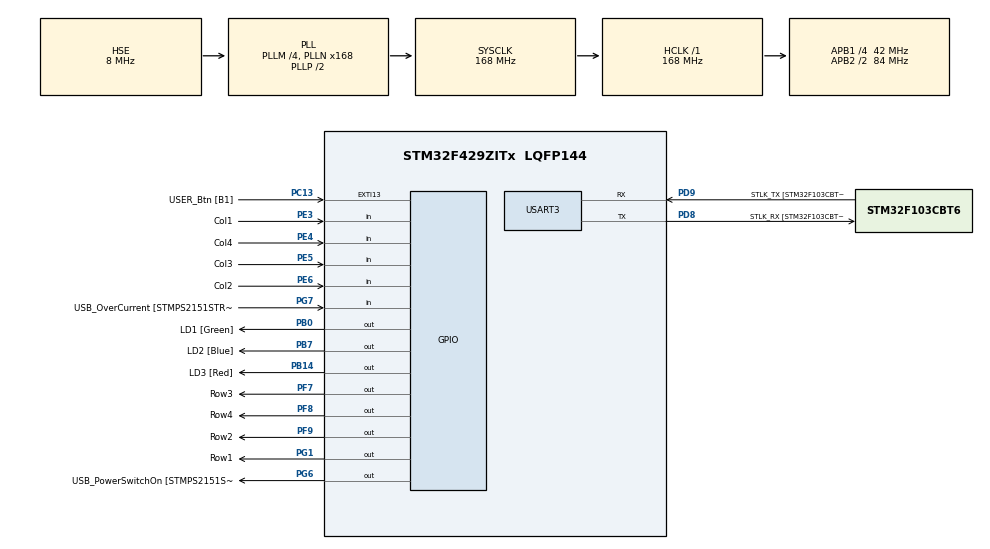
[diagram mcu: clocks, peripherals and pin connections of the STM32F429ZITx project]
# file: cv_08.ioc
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Mcu.Family=STM32F4
Mcu.Name=STM32F429ZITx
Mcu.Package=LQFP144
NVIC.PriorityGroup=NVIC_PRIORITYGROUP_4
NVIC.TIM3_IRQn=true\:0\:0\:false\:false\:true\:true\:true
PA1.GPIO_Label=RMII_REF_CLK [LAN8742A-CZ-TR_REFCLK0]
PA1.Signal=ETH_REF_CLK
PA10.GPIO_Label=USB_ID
PA10.Signal=USB_OTG_FS_ID
PA11.GPIO_Label=USB_DM
PA11.Signal=USB_OTG_FS_DM
PA12.GPIO_Label=USB_DP
PA12.Signal=USB_OTG_FS_DP
PA13.GPIO_Label=TMS
PA13.Mode=Serial_Wire
PA13.Signal=SYS_JTMS-SWDIO
PA14.GPIO_Label=TCK
PA14.Mode=Serial_Wire
PA14.Signal=SYS_JTCK-SWCLK
PA2.GPIO_Label=RMII_MDIO [LAN8742A-CZ-TR_MDIO]
PA2.Signal=ETH_MDIO
PA7.GPIO_Label=RMII_CRS_DV [LAN8742A-CZ-TR_CRS_DV]
PA7.Signal=ETH_CRS_DV
PA8.GPIO_Label=USB_SOF [TP1]
PA8.Signal=USB_OTG_FS_SOF
PA9.GPIO_Label=USB_VBUS
PA9.Signal=USB_OTG_FS_VBUS
PB0.GPIO_Label=LD1 [Green]
PB0.Signal=GPIO_Output
PB13.GPIO_Label=RMII_TXD1 [LAN8742A-CZ-TR_TXD1]
PB13.Signal=ETH_TXD1
PB14.GPIO_Label=LD3 [Red]
PB14.Signal=GPIO_Output
PB7.GPIO_Label=LD2 [Blue]
PB7.Signal=GPIO_Output
PC1.GPIO_Label=RMII_MDC [LAN8742A-CZ-TR_MDC]
PC1.Signal=ETH_MDC
PC13.GPIO_Label=USER_Btn [B1]
PC13.Signal=GPXTI13
PC14/OSC32_IN.Mode=LSE-External-Oscillator
PC14/OSC32_IN.Signal=RCC_OSC32_IN
PC15/OSC32_OUT.Mode=LSE-External-Oscillator
PC15/OSC32_OUT.Signal=RCC_OSC32_OUT
PC4.GPIO_Label=RMII_RXD0 [LAN8742A-CZ-TR_RXD0]
PC4.Signal=ETH_RXD0
PC5.GPIO_Label=RMII_RXD1 [LAN8742A-CZ-TR_RXD1]
PC5.Signal=ETH_RXD1
PD8.GPIO_Label=STLK_RX [STM32F103CBT6_PA3]
PD8.Mode=Asynchronous
PD8.Signal=USART3_TX
PD9.GPIO_Label=STLK_TX [STM32F103CBT6_PA2]
PD9.Mode=Asynchronous
PD9.Signal=USART3_RX
PE3.GPIO_Label=Col1
PE3.GPIO_PuPd=GPIO_PULLUP
PE3.Signal=GPIO_Input
PE4.GPIO_Label=Col4
PE4.GPIO_PuPd=GPIO_PULLUP
PE4.Signal=GPIO_Input
PE5.GPIO_Label=Col3
PE5.GPIO_PuPd=GPIO_PULLUP
PE5.Signal=GPIO_Input
PE6.GPIO_Label=Col2
PE6.GPIO_PuPd=GPIO_PULLUP
PE6.Signal=GPIO_Input
PF7.GPIO_Label=Row3
PF7.GPIO_ModeDefaultOutputPP=GPIO_MODE_OUTPUT_OD
PF7.Signal=GPIO_Output
PF8.GPIO_Label=Row4
PF8.GPIO_ModeDefaultOutputPP=GPIO_MODE_OUTPUT_OD
PF8.Signal=GPIO_Output
PF9.GPIO_Label=Row2
PF9.GPIO_ModeDefaultOutputPP=GPIO_MODE_OUTPUT_OD
PF9.Signal=GPIO_Output
PG1.GPIO_Label=Row1
PG1.GPIO_ModeDefaultOutputPP=GPIO_MODE_OUTPUT_OD
PG1.Signal=GPIO_Output
PG11.GPIO_Label=RMII_TX_EN [LAN8742A-CZ-TR_TXEN]
PG11.Signal=ETH_TX_EN
PG13.GPIO_Label=RMII_TXD0 [LAN8742A-CZ-TR_TXD0]
PG13.Signal=ETH_TXD0
PG6.GPIO_Label=USB_PowerSwitchOn [STMPS2151STR_EN]
PG6.Signal=GPIO_Output
PG7.GPIO_Label=USB_OverCurrent [STMPS2151STR_FAULT]
PG7.Signal=GPIO_Input
PH0/OSC_IN.GPIO_Label=MCO [STM32F103CBT6_PA8]
PH0/OSC_IN.Mode=HSE-External-Clock-Source
PH0/OSC_IN.Signal=RCC_OSC_IN
PH1/OSC_OUT.Mode=HSE-External-Clock-Source
PH1/OSC_OUT.Signal=RCC_OSC_OUT
ProjectManager.HeapSize=0x200
ProjectManager.StackSize=0x400
ProjectManager.TargetToolchain=STM32CubeIDE
RCC.48MHZClocksFreq_Value=48000000
RCC.AHBFreq_Value=168000000
RCC.APB1CLKDivider=RCC_HCLK_DIV4
RCC.APB1Freq_Value=42000000
RCC.APB1TimFreq_Value=84000000
RCC.APB2CLKDivider=RCC_HCLK_DIV2
RCC.APB2Freq_Value=84000000
RCC.APB2TimCLKDivider=2
RCC.APB2TimFreq_Value=168000000
RCC.CortexFreq_Value=168000000
RCC.HCLKFreq_Value=168000000
RCC.HSE_VALUE=8000000
RCC.HSI_VALUE=16000000
RCC.PLLM=4
RCC.PLLMUL=RCC_PLL_MUL9
RCC.PLLN=168
RCC.PLLQ=7
RCC.PLLSourceVirtual=RCC_PLLSOURCE_HSE
RCC.PRESCALERUSB=RCC_USBCLKSOURCE_PLL_DIV1_5
RCC.SYSCLKFreq_VALUE=168000000
RCC.SYSCLKSource=RCC_SYSCLKSOURCE_PLLCLK
RCC.SYSCLKSourceVirtual=RCC_SYSCLKSOURCE_PLLCLK
RCC.USBFreq_Value=48000000
RCC.VCOOutputFreq_Value=336000000
TIM3.Period=99
TIM3.Prescaler=8399
USART3.VirtualMode=VM_ASYNC
VP_TIM3_VS_ClockSourceINT.Mode=Internal
board=NUCLEO-F429ZI

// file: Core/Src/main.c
/* USER CODE BEGIN Header */
/**
  ******************************************************************************
  * @file           : main.c
  * @brief          : Main program body
  ******************************************************************************
  * @attention
  *
  * <h2><center>&copy; Copyright (c) 2021 STMicroelectronics.
  * All rights reserved.</center></h2>
  *
  * This software component is licensed by ST under BSD 3-Clause license,
  * the "License"; You may not use this file except in compliance with the
  * License. You may obtain a copy of the License at:
  *                        opensource.org/licenses/BSD-3-Clause
  *
  ******************************************************************************
  */
/* USER CODE END Header */
#include "main.h"

/* USER CODE BEGIN Includes */
#include <stdio.h>
#include <string.h>
#include <stdlib.h>
/* USER CODE END Includes */

TIM_HandleTypeDef htim3;

UART_HandleTypeDef huart3;

/* USER CODE BEGIN PV */
static volatile int8_t key = -1;
const uint8_t heslo[] = { 7, 9, 3, 2, 12 };
/* USER CODE END PV */

void SystemClock_Config(void);
static void MX_GPIO_Init(void);
static void MX_USART3_UART_Init(void);
static void MX_TIM3_Init(void);
/* USER CODE BEGIN PFP */
int __io_putchar(int ch);
/* USER CODE END PFP */

int main(void)
{

  /* MCU Configuration--------------------------------------------------------*/

  /* Reset of all peripherals, Initializes the Flash interface and the Systick. */
  HAL_Init();

  /* Configure the system clock */
  SystemClock_Config();

  /* Initialize all configured peripherals */
  MX_GPIO_Init();
  MX_USART3_UART_Init();
  MX_TIM3_Init();
  /* USER CODE BEGIN 2 */
  HAL_TIM_Base_Start_IT(&htim3);
  printf("Start \n");
  /* USER CODE END 2 */

  /* Infinite loop */
  /* USER CODE BEGIN WHILE */
  while (1)
  {
	static uint8_t znak=0;
	static uint32_t tick=0;
	//HAL_GPIO_TogglePin(LD1_GPIO_Port, LD1_Pin);
	//HAL_Delay(500);

	if(key != -1)
	{
		printf("Button: %d \n", key);
		HAL_Delay(500);
		if(key == heslo[znak]) {
			znak++;
			tick = HAL_GetTick();
			//printf("znak= %d \n", znak);
		}
		else znak = 0;

		if(znak > 4 ){
			HAL_GPIO_TogglePin(LD1_GPIO_Port, LD1_Pin);
			znak = 0;
		}
		key=-1;
	}

	if((HAL_GetTick() >= tick + 10000) && znak != 0){
		tick = HAL_GetTick();
		znak = 0;
		printf("Cas vyprsel\n");
	}
    /* USER CODE END WHILE */

  }
}

void SystemClock_Config(void)
{
  RCC_OscInitTypeDef RCC_OscInitStruct = {0};
  RCC_ClkInitTypeDef RCC_ClkInitStruct = {0};

  /** Configure the main internal regulator output voltage
  */
  __HAL_RCC_PWR_CLK_ENABLE();
  __HAL_PWR_VOLTAGESCALING_CONFIG(PWR_REGULATOR_VOLTAGE_SCALE1);
  /** Initializes the RCC Oscillators according to the specified parameters
  * in the RCC_OscInitTypeDef structure.
  */
  RCC_OscInitStruct.OscillatorType = RCC_OSCILLATORTYPE_HSE;
  RCC_OscInitStruct.HSEState = RCC_HSE_BYPASS;
  RCC_OscInitStruct.PLL.PLLState = RCC_PLL_ON;
  RCC_OscInitStruct.PLL.PLLSource = RCC_PLLSOURCE_HSE;
  RCC_OscInitStruct.PLL.PLLM = 4;
  RCC_OscInitStruct.PLL.PLLN = 168;
  RCC_OscInitStruct.PLL.PLLP = RCC_PLLP_DIV2;
  RCC_OscInitStruct.PLL.PLLQ = 7;
  if (HAL_RCC_OscConfig(&RCC_OscInitStruct) != HAL_OK)
  {
    Error_Handler();
  }
  /** Initializes the CPU, AHB and APB buses clocks
  */
  RCC_ClkInitStruct.ClockType = RCC_CLOCKTYPE_HCLK|RCC_CLOCKTYPE_SYSCLK
                              |RCC_CLOCKTYPE_PCLK1|RCC_CLOCKTYPE_PCLK2;
  RCC_ClkInitStruct.SYSCLKSource = RCC_SYSCLKSOURCE_PLLCLK;
  RCC_ClkInitStruct.AHBCLKDivider = RCC_SYSCLK_DIV1;
  RCC_ClkInitStruct.APB1CLKDivider = RCC_HCLK_DIV4;
  RCC_ClkInitStruct.APB2CLKDivider = RCC_HCLK_DIV2;

  if (HAL_RCC_ClockConfig(&RCC_ClkInitStruct, FLASH_LATENCY_5) != HAL_OK)
  {
    Error_Handler();
  }
}

static void MX_TIM3_Init(void)
{

  TIM_ClockConfigTypeDef sClockSourceConfig = {0};
  TIM_MasterConfigTypeDef sMasterConfig = {0};

  htim3.Instance = TIM3;
  htim3.Init.Prescaler = 8399;
  htim3.Init.CounterMode = TIM_COUNTERMODE_UP;
  htim3.Init.Period = 99;
  htim3.Init.ClockDivision = TIM_CLOCKDIVISION_DIV1;
  htim3.Init.AutoReloadPreload = TIM_AUTORELOAD_PRELOAD_DISABLE;
  if (HAL_TIM_Base_Init(&htim3) != HAL_OK)
  {
    Error_Handler();
  }
  sClockSourceConfig.ClockSource = TIM_CLOCKSOURCE_INTERNAL;
  if (HAL_TIM_ConfigClockSource(&htim3, &sClockSourceConfig) != HAL_OK)
  {
    Error_Handler();
  }
  sMasterConfig.MasterOutputTrigger = TIM_TRGO_RESET;
  sMasterConfig.MasterSlaveMode = TIM_MASTERSLAVEMODE_DISABLE;
  if (HAL_TIMEx_MasterConfigSynchronization(&htim3, &sMasterConfig) != HAL_OK)
  {
    Error_Handler();
  }

}

static void MX_USART3_UART_Init(void)
{

  huart3.Instance = USART3;
  huart3.Init.BaudRate = 115200;
  huart3.Init.WordLength = UART_WORDLENGTH_8B;
  huart3.Init.StopBits = UART_STOPBITS_1;
  huart3.Init.Parity = UART_PARITY_NONE;
  huart3.Init.Mode = UART_MODE_TX_RX;
  huart3.Init.HwFlowCtl = UART_HWCONTROL_NONE;
  huart3.Init.OverSampling = UART_OVERSAMPLING_16;
  if (HAL_UART_Init(&huart3) != HAL_OK)
  {
    Error_Handler();
  }

}

static void MX_GPIO_Init(void)
{
  GPIO_InitTypeDef GPIO_InitStruct = {0};

  /* GPIO Ports Clock Enable */
  __HAL_RCC_GPIOE_CLK_ENABLE();
  __HAL_RCC_GPIOC_CLK_ENABLE();
  __HAL_RCC_GPIOF_CLK_ENABLE();
  __HAL_RCC_GPIOH_CLK_ENABLE();
  __HAL_RCC_GPIOA_CLK_ENABLE();
  __HAL_RCC_GPIOB_CLK_ENABLE();
  __HAL_RCC_GPIOG_CLK_ENABLE();
  __HAL_RCC_GPIOD_CLK_ENABLE();

  /*Configure GPIO pin Output Level */
  HAL_GPIO_WritePin(GPIOF, Row3_Pin|Row4_Pin|Row2_Pin, GPIO_PIN_RESET);

  /*Configure GPIO pin Output Level */
  HAL_GPIO_WritePin(GPIOB, LD1_Pin|LD3_Pin|LD2_Pin, GPIO_PIN_RESET);

  /*Configure GPIO pin Output Level */
  HAL_GPIO_WritePin(GPIOG, Row1_Pin|USB_PowerSwitchOn_Pin, GPIO_PIN_RESET);

  /*Configure GPIO pins : Col1_Pin Col4_Pin Col3_Pin Col2_Pin */
  GPIO_InitStruct.Pin = Col1_Pin|Col4_Pin|Col3_Pin|Col2_Pin;
  GPIO_InitStruct.Mode = GPIO_MODE_INPUT;
  GPIO_InitStruct.Pull = GPIO_PULLUP;
  HAL_GPIO_Init(GPIOE, &GPIO_InitStruct);

  /*Configure GPIO pin : USER_Btn_Pin */
  GPIO_InitStruct.Pin = USER_Btn_Pin;
  GPIO_InitStruct.Mode = GPIO_MODE_IT_RISING;
  GPIO_InitStruct.Pull = GPIO_NOPULL;
  HAL_GPIO_Init(USER_Btn_GPIO_Port, &GPIO_InitStruct);

  /*Configure GPIO pins : Row3_Pin Row4_Pin Row2_Pin */
  GPIO_InitStruct.Pin = Row3_Pin|Row4_Pin|Row2_Pin;
  GPIO_InitStruct.Mode = GPIO_MODE_OUTPUT_OD;
  GPIO_InitStruct.Pull = GPIO_NOPULL;
  GPIO_InitStruct.Speed = GPIO_SPEED_FREQ_LOW;
  HAL_GPIO_Init(GPIOF, &GPIO_InitStruct);

  /*Configure GPIO pins : RMII_MDC_Pin RMII_RXD0_Pin RMII_RXD1_Pin */
  GPIO_InitStruct.Pin = RMII_MDC_Pin|RMII_RXD0_Pin|RMII_RXD1_Pin;
  GPIO_InitStruct.Mode = GPIO_MODE_AF_PP;
  GPIO_InitStruct.Pull = GPIO_NOPULL;
  GPIO_InitStruct.Speed = GPIO_SPEED_FREQ_VERY_HIGH;
  GPIO_InitStruct.Alternate = GPIO_AF11_ETH;
  HAL_GPIO_Init(GPIOC, &GPIO_InitStruct);

  /*Configure GPIO pins : RMII_REF_CLK_Pin RMII_MDIO_Pin RMII_CRS_DV_Pin */
  GPIO_InitStruct.Pin = RMII_REF_CLK_Pin|RMII_MDIO_Pin|RMII_CRS_DV_Pin;
  GPIO_InitStruct.Mode = GPIO_MODE_AF_PP;
  GPIO_InitStruct.Pull = GPIO_NOPULL;
  GPIO_InitStruct.Speed = GPIO_SPEED_FREQ_VERY_HIGH;
  GPIO_InitStruct.Alternate = GPIO_AF11_ETH;
  HAL_GPIO_Init(GPIOA, &GPIO_InitStruct);

  /*Configure GPIO pins : LD1_Pin LD3_Pin LD2_Pin */
  GPIO_InitStruct.Pin = LD1_Pin|LD3_Pin|LD2_Pin;
  GPIO_InitStruct.Mode = GPIO_MODE_OUTPUT_PP;
  GPIO_InitStruct.Pull = GPIO_NOPULL;
  GPIO_InitStruct.Speed = GPIO_SPEED_FREQ_LOW;
  HAL_GPIO_Init(GPIOB, &GPIO_InitStruct);

  /*Configure GPIO pin : Row1_Pin */
  GPIO_InitStruct.Pin = Row1_Pin;
  GPIO_InitStruct.Mode = GPIO_MODE_OUTPUT_OD;
  GPIO_InitStruct.Pull = GPIO_NOPULL;
  GPIO_InitStruct.Speed = GPIO_SPEED_FREQ_LOW;
  HAL_GPIO_Init(Row1_GPIO_Port, &GPIO_InitStruct);

  /*Configure GPIO pin : RMII_TXD1_Pin */
  GPIO_InitStruct.Pin = RMII_TXD1_Pin;
  GPIO_InitStruct.Mode = GPIO_MODE_AF_PP;
  GPIO_InitStruct.Pull = GPIO_NOPULL;
  GPIO_InitStruct.Speed = GPIO_SPEED_FREQ_VERY_HIGH;
  GPIO_InitStruct.Alternate = GPIO_AF11_ETH;
  HAL_GPIO_Init(RMII_TXD1_GPIO_Port, &GPIO_InitStruct);

  /*Configure GPIO pin : USB_PowerSwitchOn_Pin */
  GPIO_InitStruct.Pin = USB_PowerSwitchOn_Pin;
  GPIO_InitStruct.Mode = GPIO_MODE_OUTPUT_PP;
  GPIO_InitStruct.Pull = GPIO_NOPULL;
  GPIO_InitStruct.Speed = GPIO_SPEED_FREQ_LOW;
  HAL_GPIO_Init(USB_PowerSwitchOn_GPIO_Port, &GPIO_InitStruct);

  /*Configure GPIO pin : USB_OverCurrent_Pin */
  GPIO_InitStruct.Pin = USB_OverCurrent_Pin;
  GPIO_InitStruct.Mode = GPIO_MODE_INPUT;
  GPIO_InitStruct.Pull = GPIO_NOPULL;
  HAL_GPIO_Init(USB_OverCurrent_GPIO_Port, &GPIO_InitStruct);

  /*Configure GPIO pins : USB_SOF_Pin USB_ID_Pin USB_DM_Pin USB_DP_Pin */
  GPIO_InitStruct.Pin = USB_SOF_Pin|USB_ID_Pin|USB_DM_Pin|USB_DP_Pin;
  GPIO_InitStruct.Mode = GPIO_MODE_AF_PP;
  GPIO_InitStruct.Pull = GPIO_NOPULL;
  GPIO_InitStruct.Speed = GPIO_SPEED_FREQ_VERY_HIGH;
  GPIO_InitStruct.Alternate = GPIO_AF10_OTG_FS;
  HAL_GPIO_Init(GPIOA, &GPIO_InitStruct);

  /*Configure GPIO pin : USB_VBUS_Pin */
  GPIO_InitStruct.Pin = USB_VBUS_Pin;
  GPIO_InitStruct.Mode = GPIO_MODE_INPUT;
  GPIO_InitStruct.Pull = GPIO_NOPULL;
  HAL_GPIO_Init(USB_VBUS_GPIO_Port, &GPIO_InitStruct);

  /*Configure GPIO pins : RMII_TX_EN_Pin RMII_TXD0_Pin */
  GPIO_InitStruct.Pin = RMII_TX_EN_Pin|RMII_TXD0_Pin;
  GPIO_InitStruct.Mode = GPIO_MODE_AF_PP;
  GPIO_InitStruct.Pull = GPIO_NOPULL;
  GPIO_InitStruct.Speed = GPIO_SPEED_FREQ_VERY_HIGH;
  GPIO_InitStruct.Alternate = GPIO_AF11_ETH;
  HAL_GPIO_Init(GPIOG, &GPIO_InitStruct);

}

/* USER CODE BEGIN 4 */
void HAL_TIM_PeriodElapsedCallback(TIM_HandleTypeDef *htim)
{
	static int row = 0;
	static const int keyboard[4][4] = {
			{ 1, 2, 3, 21 },
			{ 4, 5, 6, 22 },
			{ 7, 8, 9, 23 },
			{ 11, 0, 12, 24 },
	};
	if (key == -1) {
		if (HAL_GPIO_ReadPin(Col1_GPIO_Port, Col1_Pin) == GPIO_PIN_RESET) key = keyboard[row][0];
		if (HAL_GPIO_ReadPin(Col2_GPIO_Port, Col2_Pin) == GPIO_PIN_RESET) key = keyboard[row][1];
		if (HAL_GPIO_ReadPin(Col3_GPIO_Port, Col3_Pin) == GPIO_PIN_RESET) key = keyboard[row][2];
		if (HAL_GPIO_ReadPin(Col4_GPIO_Port, Col4_Pin) == GPIO_PIN_RESET) key = keyboard[row][3];
		// ... atd ...
	}
	HAL_GPIO_WritePin(Row1_GPIO_Port, Row1_Pin, GPIO_PIN_SET);
	HAL_GPIO_WritePin(Row2_GPIO_Port, Row2_Pin, GPIO_PIN_SET);
	HAL_GPIO_WritePin(Row3_GPIO_Port, Row3_Pin, GPIO_PIN_SET);
	HAL_GPIO_WritePin(Row4_GPIO_Port, Row4_Pin, GPIO_PIN_SET);
	switch (row) {
		case 0: row = 1; HAL_GPIO_WritePin(Row2_GPIO_Port, Row2_Pin, GPIO_PIN_RESET); break;
		case 1: row = 2; HAL_GPIO_WritePin(Row3_GPIO_Port, Row3_Pin, GPIO_PIN_RESET); break;
		case 2: row = 3; HAL_GPIO_WritePin(Row4_GPIO_Port, Row4_Pin, GPIO_PIN_RESET); break;
		case 3: row = 0; HAL_GPIO_WritePin(Row1_GPIO_Port, Row1_Pin, GPIO_PIN_RESET); break;

 }
}

int __io_putchar(int ch)
{
 ITM_SendChar(ch);
 return 0;
}
/* USER CODE END 4 */

void Error_Handler(void)
{
  __disable_irq();
  while (1)
  {
  }
}

/************************ (C) COPYRIGHT STMicroelectronics *****END OF FILE****/
